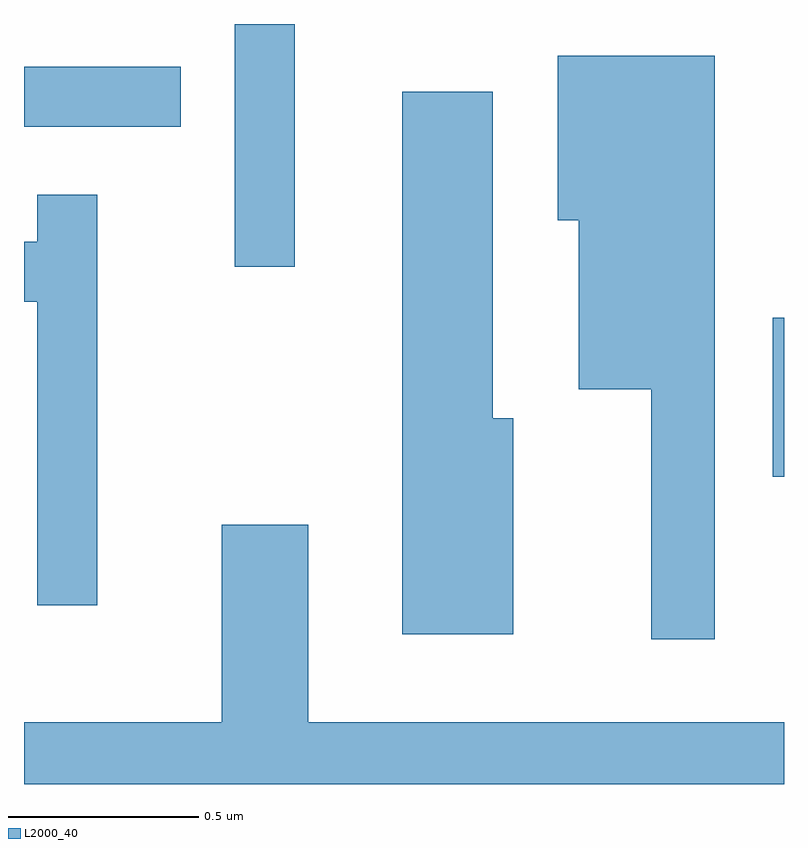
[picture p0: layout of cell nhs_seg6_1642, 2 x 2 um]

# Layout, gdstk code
import gdstk
lib = gdstk.Library(unit=1e-6, precision=1e-09)
def R(c, l, rs):  # rectangles x0, y0, x1, y1
    for r in rs: c.add(gdstk.rectangle(r[:2], r[2:], *l))
def P(c, l, *ps):  # polygons
    for p in ps: c.add(gdstk.Polygon(p, *l))
L2000_40 = (2000, 40)

nhs_seg6_1642 = lib.new_cell('nhs_seg6_1642')
R(nhs_seg6_1642, L2000_40, [(199.581,1530.971,199.611,1531.389), (198.166,1531.523,198.324,1532.162), (197.611,1531.891,198.023,1532.049)])
P(nhs_seg6_1642, L2000_40, [(199.429,1532.079),(199.016,1532.079),(199.016,1531.646),(199.071,1531.646),(199.071,1531.201),(199.261,1531.201),(199.261,1530.543),(199.429,1530.543)],
  [(198.899,1531.124),(198.844,1531.124),(198.844,1531.984),(198.606,1531.984),(198.606,1530.556),(198.899,1530.556)],
  [(197.804,1531.713),(197.646,1531.713),(197.646,1531.589),(197.611,1531.589),(197.611,1531.431),(197.646,1531.431),(197.646,1530.633),(197.804,1530.633)],
  [(199.611,1530.324),(198.359,1530.324),(198.359,1530.844),(198.131,1530.844),(198.131,1530.324),(197.611,1530.324),(197.611,1530.162),(199.611,1530.162)])

lib.write_gds('nhs_seg6_1642.gds')
